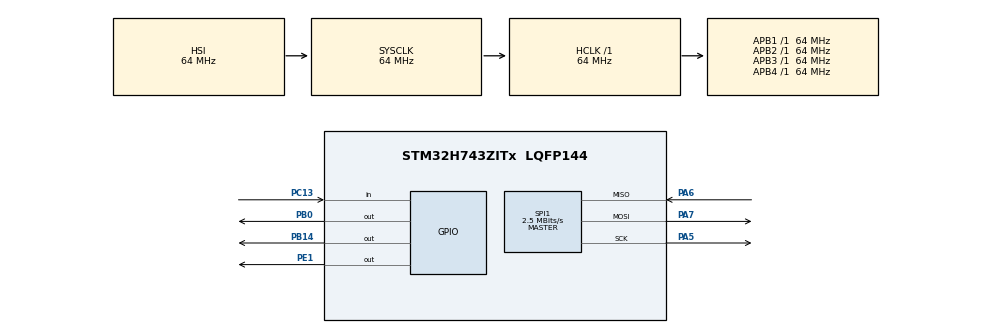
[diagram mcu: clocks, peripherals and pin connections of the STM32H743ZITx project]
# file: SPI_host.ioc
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CORTEX_M7.default_mode_Activation=1
Mcu.Family=STM32H7
Mcu.Name=STM32H743ZITx
Mcu.Package=LQFP144
NUCLEO-H743ZI2.BUTTON=1
NUCLEO-H743ZI2.LD1=true
NUCLEO-H743ZI2.LD2=true
NUCLEO-H743ZI2.LD3=true
NUCLEO-H743ZI2.VCP=true
NVIC.EXTI15_10_IRQn=true\:0\:0\:false\:false\:true\:false\:true\:true
NVIC.PriorityGroup=NVIC_PRIORITYGROUP_4
PA13\ (JTMS/SWDIO).GPIO_Label=JTMS
PA13\ (JTMS/SWDIO).Signal=DEBUG_JTMS-SWDIO
PA14\ (JTCK/SWCLK).GPIO_Label=JTCK
PA14\ (JTCK/SWCLK).Signal=DEBUG_JTCK-SWCLK
PA5.GPIO_Speed=GPIO_SPEED_FREQ_VERY_HIGH
PA5.Mode=Full_Duplex_Master
PA5.Signal=SPI1_SCK
PA6.GPIO_Speed=GPIO_SPEED_FREQ_VERY_HIGH
PA6.Mode=Full_Duplex_Master
PA6.Signal=SPI1_MISO
PA7.GPIO_Speed=GPIO_SPEED_FREQ_VERY_HIGH
PA7.Mode=Full_Duplex_Master
PA7.Signal=SPI1_MOSI
PB0.Signal=GPIO_Output
PB14.Signal=GPIO_Output
PC13.Signal=GPIO_Input
PC14-OSC32_IN\ (OSC32_IN).Signal=RCC_OSC32_IN
PC15-OSC32_OUT\ (OSC32_OUT).Signal=RCC_OSC32_OUT
PD8.Signal=USART3_TX
PD9.Signal=USART3_RX
PE1.Signal=GPIO_Output
PH0-OSC_IN\ (PH0).Signal=RCC_OSC_IN
PH1-OSC_OUT\ (PH1).Signal=RCC_OSC_OUT
ProjectManager.HeapSize=0x200
ProjectManager.StackSize=0x400
ProjectManager.TargetToolchain=STM32CubeIDE
RCC.ADCFreq_Value=129000000
RCC.APB1Freq_Value=64000000
RCC.APB2Freq_Value=64000000
RCC.APB3Freq_Value=64000000
RCC.APB4Freq_Value=64000000
RCC.CortexFreq_Value=64000000
RCC.DIVM1=4
RCC.DIVN1=10
RCC.HCLKFreq_Value=64000000
RCC.PLLFRACN=0
RCC.SYSCLKFreq_VALUE=64000000
RCC.USBFreq_Value=80000000
SPI1.BaudRatePrescaler=SPI_BAUDRATEPRESCALER_32
SPI1.CalculateBaudRate=2.5 MBits/s
SPI1.DataSize=SPI_DATASIZE_8BIT
SPI1.Direction=SPI_DIRECTION_2LINES
SPI1.Mode=SPI_MODE_MASTER
SPI1.VirtualType=VM_MASTER
VP_MEMORYMAP_VS_MEMORYMAP.Mode=CurAppReg
VP_NUCLEO-H743ZI2_VS_BSP_COMMON.Mode=COMMON
board=NUCLEO-H743ZI2

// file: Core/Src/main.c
/* USER CODE BEGIN Header */
/**
  ******************************************************************************
  * @file           : main.c
  * @brief          : Main program body
  ******************************************************************************
  * @attention
  *
  * Copyright (c) 2025 STMicroelectronics.
  * All rights reserved.
  *
  * This software is licensed under terms that can be found in the LICENSE file
  * in the root directory of this software component.
  * If no LICENSE file comes with this software, it is provided AS-IS.
  *
  ******************************************************************************
  */
/* USER CODE END Header */
#include "main.h"

COM_InitTypeDef BspCOMInit;

SPI_HandleTypeDef hspi1;

/* USER CODE BEGIN PV */

uint8_t TX_Buffer [] = "KASM" ; // DATA to send
uint8_t RX_buffer[BUFFERSIZE] = {0};
uint16_t buf_size = 5; // size of the data
HAL_StatusTypeDef status;

/* USER CODE END PV */

void SystemClock_Config(void);
static void MPU_Config(void);
static void MX_GPIO_Init(void);
static void MX_SPI1_Init(void);

int main(void)
{

  /* MPU Configuration--------------------------------------------------------*/
  MPU_Config();

  /* MCU Configuration--------------------------------------------------------*/

  /* Reset of all peripherals, Initializes the Flash interface and the Systick. */
  HAL_Init();

  /* Configure the system clock */
  SystemClock_Config();

  /* Initialize all configured peripherals */
  MX_GPIO_Init();
  MX_SPI1_Init();

  /* Initialize leds */
  BSP_LED_Init(LED_GREEN);
  BSP_LED_Init(LED_YELLOW);
  BSP_LED_Init(LED_RED);

  /* Initialize USER push-button, will be used to trigger an interrupt each time it's pressed.*/
  BSP_PB_Init(BUTTON_USER, BUTTON_MODE_EXTI);

  /* Initialize COM1 port (115200, 8 bits (7-bit data + 1 stop bit), no parity */
  BspCOMInit.BaudRate   = 115200;
  BspCOMInit.WordLength = COM_WORDLENGTH_8B;
  BspCOMInit.StopBits   = COM_STOPBITS_1;
  BspCOMInit.Parity     = COM_PARITY_NONE;
  BspCOMInit.HwFlowCtl  = COM_HWCONTROL_NONE;
  if (BSP_COM_Init(COM1, &BspCOMInit) != BSP_ERROR_NONE)
  {
    Error_Handler();
  }

  /* Infinite loop */
  /* USER CODE BEGIN WHILE */

  while (1)
  {
	  status = HAL_SPI_TransmitReceive(&hspi1,TX_Buffer,RX_buffer,5,1000);
	  switch(status){
	  case(HAL_OK):
			BSP_LED_Toggle(LED_GREEN);
	  	  	break;
	  case(HAL_ERROR):
			BSP_LED_Toggle(LED_RED);
	  	  	break;
	  case(HAL_TIMEOUT):
			  BSP_LED_Toggle(LED_YELLOW);
	  	  	  break;
	  default: break;
	  }

	  HAL_Delay(100);

    /* USER CODE END WHILE */

  }
}

void SystemClock_Config(void)
{
  RCC_OscInitTypeDef RCC_OscInitStruct = {0};
  RCC_ClkInitTypeDef RCC_ClkInitStruct = {0};

  /** Supply configuration update enable
  */
  HAL_PWREx_ConfigSupply(PWR_LDO_SUPPLY);

  /** Configure the main internal regulator output voltage
  */
  __HAL_PWR_VOLTAGESCALING_CONFIG(PWR_REGULATOR_VOLTAGE_SCALE3);

  while(!__HAL_PWR_GET_FLAG(PWR_FLAG_VOSRDY)) {}

  /** Initializes the RCC Oscillators according to the specified parameters
  * in the RCC_OscInitTypeDef structure.
  */
  RCC_OscInitStruct.OscillatorType = RCC_OSCILLATORTYPE_HSI;
  RCC_OscInitStruct.HSIState = RCC_HSI_DIV1;
  RCC_OscInitStruct.HSICalibrationValue = RCC_HSICALIBRATION_DEFAULT;
  RCC_OscInitStruct.PLL.PLLState = RCC_PLL_ON;
  RCC_OscInitStruct.PLL.PLLSource = RCC_PLLSOURCE_HSI;
  RCC_OscInitStruct.PLL.PLLM = 4;
  RCC_OscInitStruct.PLL.PLLN = 10;
  RCC_OscInitStruct.PLL.PLLP = 2;
  RCC_OscInitStruct.PLL.PLLQ = 2;
  RCC_OscInitStruct.PLL.PLLR = 2;
  RCC_OscInitStruct.PLL.PLLRGE = RCC_PLL1VCIRANGE_3;
  RCC_OscInitStruct.PLL.PLLVCOSEL = RCC_PLL1VCOMEDIUM;
  RCC_OscInitStruct.PLL.PLLFRACN = 0;
  if (HAL_RCC_OscConfig(&RCC_OscInitStruct) != HAL_OK)
  {
    Error_Handler();
  }

  /** Initializes the CPU, AHB and APB buses clocks
  */
  RCC_ClkInitStruct.ClockType = RCC_CLOCKTYPE_HCLK|RCC_CLOCKTYPE_SYSCLK
                              |RCC_CLOCKTYPE_PCLK1|RCC_CLOCKTYPE_PCLK2
                              |RCC_CLOCKTYPE_D3PCLK1|RCC_CLOCKTYPE_D1PCLK1;
  RCC_ClkInitStruct.SYSCLKSource = RCC_SYSCLKSOURCE_HSI;
  RCC_ClkInitStruct.SYSCLKDivider = RCC_SYSCLK_DIV1;
  RCC_ClkInitStruct.AHBCLKDivider = RCC_HCLK_DIV1;
  RCC_ClkInitStruct.APB3CLKDivider = RCC_APB3_DIV1;
  RCC_ClkInitStruct.APB1CLKDivider = RCC_APB1_DIV1;
  RCC_ClkInitStruct.APB2CLKDivider = RCC_APB2_DIV1;
  RCC_ClkInitStruct.APB4CLKDivider = RCC_APB4_DIV1;

  if (HAL_RCC_ClockConfig(&RCC_ClkInitStruct, FLASH_LATENCY_1) != HAL_OK)
  {
    Error_Handler();
  }
}

static void MX_SPI1_Init(void)
{

  /* SPI1 parameter configuration*/
  hspi1.Instance = SPI1;
  hspi1.Init.Mode = SPI_MODE_MASTER;
  hspi1.Init.Direction = SPI_DIRECTION_2LINES;
  hspi1.Init.DataSize = SPI_DATASIZE_8BIT;
  hspi1.Init.CLKPolarity = SPI_POLARITY_LOW;
  hspi1.Init.CLKPhase = SPI_PHASE_1EDGE;
  hspi1.Init.NSS = SPI_NSS_SOFT;
  hspi1.Init.BaudRatePrescaler = SPI_BAUDRATEPRESCALER_32;
  hspi1.Init.FirstBit = SPI_FIRSTBIT_MSB;
  hspi1.Init.TIMode = SPI_TIMODE_DISABLE;
  hspi1.Init.CRCCalculation = SPI_CRCCALCULATION_DISABLE;
  hspi1.Init.CRCPolynomial = 0x0;
  hspi1.Init.NSSPMode = SPI_NSS_PULSE_ENABLE;
  hspi1.Init.NSSPolarity = SPI_NSS_POLARITY_LOW;
  hspi1.Init.FifoThreshold = SPI_FIFO_THRESHOLD_01DATA;
  hspi1.Init.TxCRCInitializationPattern = SPI_CRC_INITIALIZATION_ALL_ZERO_PATTERN;
  hspi1.Init.RxCRCInitializationPattern = SPI_CRC_INITIALIZATION_ALL_ZERO_PATTERN;
  hspi1.Init.MasterSSIdleness = SPI_MASTER_SS_IDLENESS_00CYCLE;
  hspi1.Init.MasterInterDataIdleness = SPI_MASTER_INTERDATA_IDLENESS_00CYCLE;
  hspi1.Init.MasterReceiverAutoSusp = SPI_MASTER_RX_AUTOSUSP_DISABLE;
  hspi1.Init.MasterKeepIOState = SPI_MASTER_KEEP_IO_STATE_DISABLE;
  hspi1.Init.IOSwap = SPI_IO_SWAP_DISABLE;
  if (HAL_SPI_Init(&hspi1) != HAL_OK)
  {
    Error_Handler();
  }

}

static void MX_GPIO_Init(void)
{

  /* GPIO Ports Clock Enable */
  __HAL_RCC_GPIOC_CLK_ENABLE();
  __HAL_RCC_GPIOH_CLK_ENABLE();
  __HAL_RCC_GPIOA_CLK_ENABLE();

}

/* USER CODE BEGIN 4 */
void HAL_SPI_TxCpltCallback(SPI_HandleTypeDef *hspi){
	;
}

/* USER CODE END 4 */

 /* MPU Configuration */

void MPU_Config(void)
{
  MPU_Region_InitTypeDef MPU_InitStruct = {0};

  /* Disables the MPU */
  HAL_MPU_Disable();

  /** Initializes and configures the Region and the memory to be protected
  */
  MPU_InitStruct.Enable = MPU_REGION_ENABLE;
  MPU_InitStruct.Number = MPU_REGION_NUMBER0;
  MPU_InitStruct.BaseAddress = 0x0;
  MPU_InitStruct.Size = MPU_REGION_SIZE_4GB;
  MPU_InitStruct.SubRegionDisable = 0x87;
  MPU_InitStruct.TypeExtField = MPU_TEX_LEVEL0;
  MPU_InitStruct.AccessPermission = MPU_REGION_NO_ACCESS;
  MPU_InitStruct.DisableExec = MPU_INSTRUCTION_ACCESS_DISABLE;
  MPU_InitStruct.IsShareable = MPU_ACCESS_SHAREABLE;
  MPU_InitStruct.IsCacheable = MPU_ACCESS_NOT_CACHEABLE;
  MPU_InitStruct.IsBufferable = MPU_ACCESS_NOT_BUFFERABLE;

  HAL_MPU_ConfigRegion(&MPU_InitStruct);
  /* Enables the MPU */
  HAL_MPU_Enable(MPU_PRIVILEGED_DEFAULT);

}

void Error_Handler(void)
{
  __disable_irq();
  while (1)
  {
  }
}
